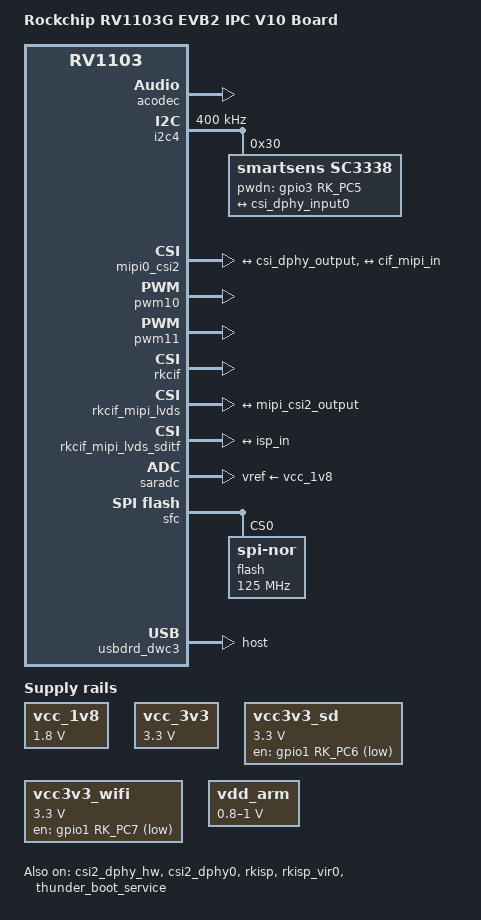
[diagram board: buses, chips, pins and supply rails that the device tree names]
// SPDX-License-Identifier: (GPL-2.0+ OR MIT)
/*
 * Copyright (c) 2023 Rockchip Electronics Co., Ltd.
 */

/dts-v1/;

#include "rv1103.dtsi"
#include "rv1103-evb-v10.dtsi"
#include "rv1106-thunder-boot-spi-nor.dtsi"

/ {
	model = "Rockchip RV1103G EVB2 IPC V10 Board";
	compatible = "rockchip,rv1103g-evb2-v10", "rockchip,rv1103";

	chosen {
		bootargs = "loglevel=0 rootfstype=erofs rootflags=dax console=ttyFIQ0 root=/dev/rd0 snd_soc_core.prealloc_buffer_size_kbytes=16 coherent_pool=0 driver_async_probe=dwmmc_rockchip storagemedia=mtd androidboot.storagemedia=mtd androidboot.mode=normal";
	};

	vcc_1v8: vcc-1v8 {
		compatible = "regulator-fixed";
		regulator-name = "vcc_1v8";
		regulator-always-on;
		regulator-boot-on;
		regulator-min-microvolt = <1800000>;
		regulator-max-microvolt = <1800000>;
	};

	vcc_3v3: vcc-3v3 {
		compatible = "regulator-fixed";
		regulator-name = "vcc_3v3";
		regulator-always-on;
		regulator-boot-on;
		regulator-min-microvolt = <3300000>;
		regulator-max-microvolt = <3300000>;
	};

	vcc3v3_sd: vcc3v3-sd {
		compatible = "regulator-fixed";
		gpio = <&gpio1 RK_PC6 GPIO_ACTIVE_LOW>;
		regulator-name = "vcc3v3_sd";
		regulator-min-microvolt = <3300000>;
		regulator-max-microvolt = <3300000>;
		enable-active-low;
		regulator-always-on;
		regulator-boot-on;
		pinctrl-names = "default";
		pinctrl-0 = <&sdmmc_pwren>;
	};

	vcc3v3_wifi: vcc3v3-wifi {
		compatible = "regulator-fixed";
		regulator-name = "vcc3v3_wifi";
		regulator-min-microvolt = <3300000>;
		regulator-max-microvolt = <3300000>;
		enable-active-low;
		regulator-always-on;
		regulator-boot-on;
		gpio = <&gpio1 RK_PC7 GPIO_ACTIVE_LOW>;
		pinctrl-names = "default";
		pinctrl-0 = <&wifi_pwren>;
	};

	vdd_arm: vdd-arm {
		compatible = "pwm-regulator";
		pwms = <&pwm0 0 5000 1>;
		regulator-name = "vdd_arm";
		regulator-min-microvolt = <800000>;
		regulator-max-microvolt = <1000000>;
		regulator-init-microvolt = <900000>;
		regulator-always-on;
		regulator-boot-on;
		regulator-settling-time-up-us = <250>;
	};

};

&acodec {
	#sound-dai-cells = <0>;
	pa-ctl-gpios = <&gpio1 RK_PC2 GPIO_ACTIVE_HIGH>;
	status = "okay";
};

&csi2_dphy_hw {
	status = "okay";
};

&csi2_dphy0 {
	status = "okay";

	ports {
		#address-cells = <1>;
		#size-cells = <0>;

		port@0 {
			reg = <0>;
			#address-cells = <1>;
			#size-cells = <0>;

			csi_dphy_input0: endpoint@0 {
				reg = <0>;
				remote-endpoint = <&sc3338_out>;
				data-lanes = <1 2>;
			};
		};

		port@1 {
			reg = <1>;
			#address-cells = <1>;
			#size-cells = <0>;

			csi_dphy_output: endpoint@0 {
				reg = <0>;
				remote-endpoint = <&mipi_csi2_input>;
			};
		};
	};
};

&fiq_debugger {
	rockchip,baudrate = <1500000>;
	pinctrl-names = "default";
	pinctrl-0 = <&uart2m1_xfer>;
};

&i2c4 {
	rockchip,amp-shared;
	clock-frequency = <400000>;
	pinctrl-names = "default";
	pinctrl-0 = <&i2c4m2_xfer>;
	status = "okay";

	sc3338: sc3338@30 {
		compatible = "smartsens,sc3338";
		status = "okay";
		reg = <0x30>;
		clocks = <&cru MCLK_REF_MIPI0>;
		clock-names = "xvclk";
		pwdn-gpios = <&gpio3 RK_PC5 GPIO_ACTIVE_HIGH>;
		pinctrl-names = "default";
		pinctrl-0 = <&mipi_refclk_out0>;
		rockchip,camera-module-index = <0>;
		rockchip,camera-module-facing = "back";
		rockchip,camera-module-name = "FKO1";
		rockchip,camera-module-lens-name = "30IRC-F16";
		port {
			sc3338_out: endpoint {
				remote-endpoint = <&csi_dphy_input0>;
				data-lanes = <1 2>;
			};
		};
	};
};

&mailbox {
	status = "okay";
};

&memory {
	reg = <0x00000000 0x04000000>;
};

&mipi0_csi2 {
	status = "okay";

	ports {
		#address-cells = <1>;
		#size-cells = <0>;

		port@0 {
			reg = <0>;
			#address-cells = <1>;
			#size-cells = <0>;

			mipi_csi2_input: endpoint@1 {
				reg = <1>;
				remote-endpoint = <&csi_dphy_output>;
			};
		};

		port@1 {
			reg = <1>;
			#address-cells = <1>;
			#size-cells = <0>;

			mipi_csi2_output: endpoint@0 {
				reg = <0>;
				remote-endpoint = <&cif_mipi_in>;
			};
		};
	};
};

&pinctrl {
	sdmmc {
		/omit-if-no-ref/
		sdmmc_pwren: sdmmc-pwren {
			rockchip,pins = <1 RK_PC6 RK_FUNC_GPIO &pcfg_pull_none>;
		};
	};

	wifi {
		wifi_pwren: wifi-pwren {
			rockchip,pins = <1 RK_PC7 RK_FUNC_GPIO &pcfg_pull_none>;
		};
	};
};

&pwm10 {
	status = "okay";
};

&pwm11 {
	status = "okay";
	pinctrl-0 = <&pwm11m1_pins>;
};

&rkcif {
	status = "okay";
};

&rkcif_mipi_lvds {
	status = "okay";

	memory-region-thunderboot = <&rkisp_thunderboot>;
	pinctrl-names = "default";
	pinctrl-0 = <&mipi_pins>;
	port {
		/* MIPI CSI-2 endpoint */
		cif_mipi_in: endpoint {
			remote-endpoint = <&mipi_csi2_output>;
		};
	};
};

&rkcif_mipi_lvds_sditf {
	status = "okay";

	port {
		/* MIPI CSI-2 endpoint */
		mipi_lvds_sditf: endpoint {
			remote-endpoint = <&isp_in>;
		};
	};
};

&rkisp {
	status = "okay";
};

&rkisp_vir0 {
	status = "okay";
	memory-region-thunderboot = <&rkisp_thunderboot>;

	port@0 {
		isp_in: endpoint {
			remote-endpoint = <&mipi_lvds_sditf>;
		};
	};
};

&rkisp_thunderboot {
	/* reg's offset MUST match with RTOS */
	/*
	 * vicap, capture raw10, ceil(w*10/8/256)*256*h *4(buf num)
	 * e.g. 2304x1296: 0xf30000
	 */
	reg = <0x00860000 0xf30000>;
};

&ramdisk_r {
	reg = <0x1790000 (10 * 0x00100000)>;
};

&ramdisk_c {
	reg = <0x2190000 (5 * 0x00100000)>;
};

&saradc {
	status = "okay";
	vref-supply = <&vcc_1v8>;
};

&sfc {
	assigned-clocks = <&cru SCLK_SFC>;
	assigned-clock-rates = <125000000>;
	status = "okay";

	flash@0 {
		compatible = "jedec,spi-nor";
		reg = <0>;
		spi-max-frequency = <125000000>;
		spi-rx-bus-width = <4>;
		spi-tx-bus-width = <1>;
	};
};

&thunder_boot_service {
	status = "okay";
};

&usbdrd_dwc3 {
	dr_mode = "host";
};
